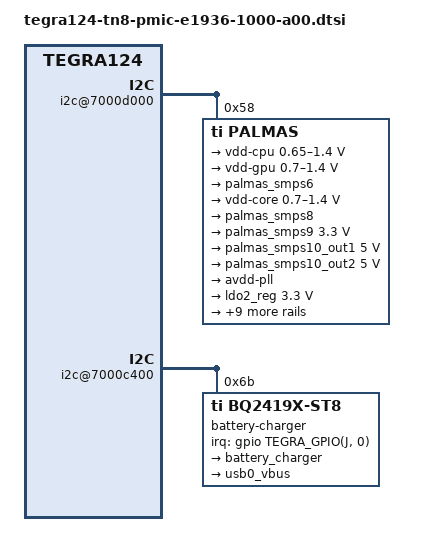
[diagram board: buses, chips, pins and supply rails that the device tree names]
/*
 * Copyright (c) 2013-2015, NVIDIA CORPORATION.  All rights reserved.
 *
 * This program is free software; you can redistribute it and/or modify it
 * under the terms and conditions of the GNU General Public License,
 * version 2, as published by the Free Software Foundation.
 *
 * This program is distributed in the hope it will be useful, but WITHOUT
 * ANY WARRANTY; without even the implied warranty of MERCHANTABILITY or
 * FITNESS FOR A PARTICULAR PURPOSE.  See the GNU General Public License for
 * more details.
 *
 * You should have received a copy of the GNU General Public License
 * along with this program.  If not, see <http://www.gnu.org/licenses/>.
 */

#include <dt-bindings/gpio/tegra-gpio.h>

/ {
	i2c@7000d000 {
		palmas: tps65913 {
			compatible = "ti,palmas";
			reg = <0x58>;
			interrupts = <0 86 0>;

			#interrupt-cells = <2>;
			interrupt-controller;

			palmas_gpio: gpio {
				compatible = "ti,palmas-gpio";
				gpio-controller;
				#gpio-cells = <2>;
			};

			rtc {
				compatible = "ti,palmas-rtc";
				interrupt-parent = <&palmas>;
				interrupts = <8 0>;
			};

			palams_thermal: thermal {
				compatible = "ti,palmas-thermal";
				#thermal-sensor-cells = <0>;
				interrupt-parent = <&palmas>;
				interrupts = <5 0>;
				ti,hot-die-threshold-temp = <120000>;
				status = "disabled";
			};

			watchdog {
				compatible = "ti,palmas-watchdog";
				ti,watchdog-init-timeout = <64>;
				status = "disabled";
			};

			pinmux {
				compatible = "ti,tps65913-pinctrl";
				pinctrl-names = "default";
				pinctrl-0 = <&palmas_default>;

				palmas_default: pinmux {
					powergood {
						pins = "powergood";
						function = "powergood";
					};

					vac {
						pins = "vac";
						function = "vac";
					};

					pin_gpio0 {
						pins = "gpio0";
						function = "id";
						bias-pull-up;
					};

					pin_gpio1 {
						pins = "gpio1";
						function = "gpio";
						bias-disable;
					};

					pin_gpio6 {
						pins = "gpio2", "gpio3", "gpio4", "gpio6", "gpio7";
						function = "gpio";
					};

					pin_gpio5 {
						pins = "gpio5";
						function = "clk32kgaudio";
					};
				};
			};

			palmas_extcon: extcon {
				compatible = "ti,palmas-usb";
				ti,wakeup;
				#extcon-cells = <1>;
				ti,enable-id-detection;
				ti,enable-vbus-detection;
			};

			power_pm {
				compatible = "ti,palmas-pm";
				system-pmic-power-off;
			};

			palmas_ldousb_in {
				compatible = "ti,palmas-ldousb-in";
				ti,ldousb-in-threshold-voltage = <3500000>;
				ti,threshold-voltage-tolerance = <100000>;
				ti,enable-in1-above-threshold;
				ldousb-in1-supply = <&vdd_ac_bat_reg>;
				ldousb-in2-supply = <&palmas_smps10_out2>;
			};

			palams_gpadc: gpadc {
				compatible = "ti,palmas-gpadc";
				interrupt-parent = <&palmas>;
				interrupts = <18 0
					      16 0
					      17 0>;
				ti,channel0-current-microamp = <5>;
				ti,channel3-current-microamp = <400>;
				ti,enable-channel3-dual-current;
				ti,enable-extended-delay;
				#io-channel-cells = <1>;
			};

                        clock {
                                compatible = "ti,palmas-clk";

                                clk32k_kg {
                                        ti,clock-boot-enable;
                                };

                                clk32k_kg_audio {
                                        ti,clock-boot-enable;
                                };
                        };

			pmic {
				compatible = "ti,tps65913-pmic", "ti,palmas-pmic";
				ldo1-in-supply = <&palmas_smps6>;
				ldo5-in-supply = <&palmas_smps8>;
				ldo9-in-supply = <&palmas_smps9>;
				ldoln-in-supply = <&palmas_smps10_out2>;
				ldousb-in-supply = <&palmas_smps10_out2>;

				regulators {
					smps123 {
						regulator-name = "vdd-cpu";
						regulator-min-microvolt = <650000>;
						regulator-max-microvolt = <1400000>;
						regulator-always-on;
						regulator-boot-on;
						ti,roof-floor = <1>;
						ti,config-flags = <8>;

						consumers {
							c1 {
								regulator-consumer-supply = "vdd_cpu";
							};
						};
					};

					smps45 {
						regulator-name = "vdd-gpu";
						regulator-min-microvolt = <700000>;
						regulator-max-microvolt = <1400000>;
						regulator-init-microvolt = <1000000>;
						regulator-boot-on;

						consumers {
							c1 {
								regulator-consumer-supply = "vdd_gpu";
							};
						};
					};

					palmas_smps6: smps6 {
						regulator-name = "vddio-ddr";
						regulator-always-on;
						regulator-boot-on;

						consumers {
							c1 {
								regulator-consumer-supply = "vddio_ddr";
							};
							c2 {
								regulator-consumer-supply = "vddio_ddr_mclk";
							};
							c3 {
								regulator-consumer-supply = "vddio_ddr3";
							};
							c4 {
								regulator-consumer-supply = "vcore1_ddr3";
							};
						};
					};

					smps7 {
						regulator-name = "vdd-core";
						regulator-min-microvolt = <700000>;
						regulator-max-microvolt = <1400000>;
						regulator-always-on;
						regulator-boot-on;
						ti,roof-floor = <3>;
						consumers {
							c1 {
								regulator-consumer-supply = "vdd_core";
							};
						};
					};

					palmas_smps8: smps8 {
						regulator-name = "vdd-1v8";
						regulator-always-on;
						regulator-boot-on;

						consumers {
							c1 {
								regulator-consumer-supply = "dbvdd";
								regulator-consumer-device = "tegra-snd-rt5639.0";
							};
							c2 {
								regulator-consumer-supply = "avdd";
								regulator-consumer-device = "tegra-snd-rt5639.0";
							};
							c3 {
								regulator-consumer-supply = "avdd_osc";
							};
							c4 {
								regulator-consumer-supply = "vddio_sys";
							};
							c5 {
								regulator-consumer-supply = "vddio_sys_2";
							};
							c6 {
								regulator-consumer-supply = "vddio_gmi";
							};
							c7 {
								regulator-consumer-supply = "vddio_sdmmc";
								regulator-consumer-device = "sdhci-tegra.0";
							};
							c8 {
								regulator-consumer-supply = "vddio_sdmmc";
								regulator-consumer-device = "sdhci-tegra.3";
							};
							c9 {
								regulator-consumer-supply = "avdd_pll_utmip";
								regulator-consumer-device = "tegra-udc.0";
							};
							c10 {
								regulator-consumer-supply = "avdd_pll_utmip";
								regulator-consumer-device = "tegra-ehci.0";
							};
							c11 {
								regulator-consumer-supply = "avdd_pll_utmip";
								regulator-consumer-device = "tegra-ehci.1";
							};
							c12 {
								regulator-consumer-supply = "avdd_pll_utmip";
								regulator-consumer-device = "tegra-ehci.2";
							};
							c14 {
								regulator-consumer-supply = "vddio_audio";
							};
							c15 {
								regulator-consumer-supply = "vddio_uart";
							};
							c16 {
								regulator-consumer-supply = "vddio_bb";
							};
							c17 {
								regulator-consumer-supply = "vdd_1v8_eeprom";
							};
							c18 {
								regulator-consumer-supply = "vlogic";
								regulator-consumer-device = "0-0069";
							};
							c19 {
								regulator-consumer-supply = "vdd";
								regulator-consumer-device = "0-0069";
							};
							c20 {
								regulator-consumer-supply = "dmicvdd";
								regulator-consumer-device = "tegra-snd-rt5639.0";
							};
							c21 {
								regulator-consumer-supply = "dmicvdd";
								regulator-consumer-device = "tegra-snd-rt5645.0";
							};
							c22 {
								regulator-consumer-supply = "vid";
								regulator-consumer-device = "0-000d";
							};
						};
					};

					palmas_smps9: smps9 {
						regulator-name = "vdd-snsr";
						regulator-min-microvolt = <3300000>;
						regulator-max-microvolt = <3300000>;
						regulator-always-on;
						regulator-boot-on;

						consumers {
							c1 {
								regulator-consumer-supply = "vddio_sd_slot";
								regulator-consumer-device = "sdhci-tegra.3";
							};
							c2 {
								regulator-consumer-supply = "vdd";
								regulator-consumer-device = "0-000d";
							};
							c3 {
								regulator-consumer-supply = "vdd";
								regulator-consumer-device = "0-004c";
							};
							c4 {
								regulator-consumer-supply = "vdd";
								regulator-consumer-device = "0-004d";
							};
						};
					};

					palmas_smps10_out1: smps10_out1 {
						regulator-name = "vdd-out1-5v0";
						regulator-min-microvolt = <5000000>;
						regulator-max-microvolt = <5000000>;

					};

					palmas_smps10_out2: smps10_out2 {
						regulator-name = "vdd-out2-5v0";
						regulator-min-microvolt = <5000000>;
						regulator-max-microvolt = <5000000>;

						consumers {
							c1 {
								regulator-consumer-supply = "spkvdd";
								regulator-consumer-device = "tegra-snd-rt5639.0";
							};
							c2 {
								regulator-consumer-supply = "spkvdd";
								regulator-consumer-device = "tegra-snd-rt5645.0";
							};
						};
					};

					ldo1 {
						regulator-name = "avdd-pll";
						regulator-always-on;
						regulator-boot-on;
						ti,roof-floor = <3>;

						consumers {
							c1 {
								regulator-consumer-supply = "avdd_pll_m";
							};
							c2 {
								regulator-consumer-supply = "avdd_pll_ap_c2_c3";
							};
							c3 {
								regulator-consumer-supply = "avdd_pll_cud2dpd";
							};
							c4 {
								regulator-consumer-supply = "avdd_pll_c4";
							};
							c5 {
								regulator-consumer-supply = "vddio_ddr_hs";
							};
							c6 {
								regulator-consumer-supply = "avdd_pll_erefe";
							};
							c7 {
								regulator-consumer-supply = "avdd_pll_cg";
							};
							c8 {
								regulator-consumer-supply = "avdd_pll_x";
							};
						};
					};

					ldo2_reg: ldo2 {
						regulator-name = "avdd-lcd";
						regulator-min-microvolt = <3300000>;
						regulator-max-microvolt = <3300000>;

						consumers {
							c1 {
								regulator-consumer-supply = "avdd_lcd";
								regulator-consumer-device = "tegradc.0";
							};

						};
					};

					ldo3_reg: ldo3 {
						regulator-name = "vdd-touch";
						regulator-min-microvolt = <3000000>;
						regulator-max-microvolt = <3000000>;
					};

					ldo4_reg: ldo4 {
						regulator-name = "avdd-cam1";
						regulator-min-microvolt = <2700000>;
						regulator-max-microvolt = <2700000>;

						consumers {
							c1 {
								regulator-consumer-supply = "avdd_ov5693";
								regulator-consumer-device = "2-0010";
							};
						};
					};

					ldo5_reg: ldo5 {
						regulator-name = "avdd-dsi-csi";

						consumers {
							c1 {
								regulator-consumer-supply = "vddio_hsic";
								regulator-consumer-device = "tegra-ehci.1";
							};
							c2 {
								regulator-consumer-supply = "vddio_hsic";
								regulator-consumer-device = "tegra-ehci.2";
							};
							c4 {
								regulator-consumer-supply = "avdd_dsi_csi";
								regulator-consumer-device = "tegradc.0";
							};
							c5 {
								regulator-consumer-supply = "avdd_dsi_csi";
								regulator-consumer-device = "tegradc.1";
							};
							c6 {
								regulator-consumer-supply = "avdd_dsi_csi";
								regulator-consumer-device = "vi.0";
							};
							c7 {
								regulator-consumer-supply = "avdd_dsi_csi";
								regulator-consumer-device = "vi.1";
							};
							c8 {
								regulator-consumer-supply = "vdd_lcd_bl";
								regulator-consumer-device = "tegradc.0";
							};
						};
					};

					vpp_fuse: ldo6 {
						regulator-name = "vpp-fuse";
						regulator-min-microvolt = <1800000>;
						regulator-max-microvolt = <1800000>;
					};

					ldo7_reg: ldo7 {
						regulator-name = "avdd-cam-af";
						regulator-min-microvolt = <2700000>;
						regulator-max-microvolt = <2700000>;

						consumers {
							c1 {
								regulator-consumer-supply = "avdd_af1_cam";
							};
							c2 {
								regulator-consumer-supply = "avdd_cam2_cam";
							};
							c3 {
								regulator-consumer-supply = "vdd_af1";
								regulator-consumer-device = "2-0010";
							};
							c4 {
								regulator-consumer-supply = "vdd";
								regulator-consumer-device = "2-000c";
							};
							c5 {
								regulator-consumer-supply = "vana";
								regulator-consumer-device = "2-0048";
							};
							c6 {
								regulator-consumer-supply = "vana";
								regulator-consumer-device = "2-0036";
							};
							c7 {
								regulator-consumer-supply = "vin";
								regulator-consumer-device = "2-0030";
							};
							c8 {
								regulator-consumer-supply = "vana";
								regulator-consumer-device = "2-0010";
							};
						};
					};

					ldo8 {
						regulator-name = "vdd-rtc";
						regulator-min-microvolt = <950000>;
						regulator-max-microvolt = <950000>;
						regulator-always-on;
						regulator-boot-on;

						consumers {
							c1 {
								regulator-consumer-supply = "vdd_rtc";
							};
						};
					};

					palmas_ldo9: ldo9 {
						regulator-name = "vddio-sdmmc-2";
						regulator-min-microvolt = <1800000>;
						regulator-max-microvolt = <3300000>;

						consumers {
							c1 {
								regulator-consumer-supply = "vddio_sdmmc";
								regulator-consumer-device = "sdhci-tegra.2";
							};
						};
					};

					ldoln_reg: ldoln {
						regulator-name = "vddio-hv";
						regulator-always-on;
						regulator-boot-on;

						consumers {
							c1 {
								regulator-consumer-supply = "vddio_hv";
								regulator-consumer-device = "tegradc.1";
							};
							c2 {
								regulator-consumer-supply = "avdd_hdmi";
								regulator-consumer-device = "tegradc.1";

							};
						};
					};

					ldousb_reg: ldousb {
						regulator-name = "avdd-usb";
						regulator-always-on;
						regulator-boot-on;

						consumers {
							c2 {
								regulator-consumer-supply = "avdd_usb";
								regulator-consumer-device = "tegra-udc.0";
							};
							c3 {
								regulator-consumer-supply = "avdd_usb";
								regulator-consumer-device = "tegra-ehci.0";
							};
							c4 {
								regulator-consumer-supply = "avdd_usb";
								regulator-consumer-device = "tegra-ehci.1";
							};
							c5 {
								regulator-consumer-supply = "avdd_usb";
								regulator-consumer-device = "tegra-ehci.2";
							};
						};
					};
				};
			};
		};
	};

	i2c@7000c400 {

		fg_max17048: battery-gauge@36 {
			compatible = "maxim,max17048";
			reg = <0x36>;
			status = "disabled";
			interrupt-parent = <&gpio>;
			interrupts = <TEGRA_GPIO(Q, 5) 0x0>;
			tz-name = "Battery";
			alert-threshold = <0>;          /* 1% SOC */
			one-percent-alerts = <1>;
			valert-max = <5100>;            /* not use */
			valert-min = <0>;            /* not use */
			vreset-threshold = <2400>;
			vreset-disable = <1>;           /* not use */
			hib-threshold = <48>;           /* 9.984%/hr */
			hib-active-threshold = <128>;   /* 160mV */
			bits = <18>;
			rcomp = <57>;
			rcomp-seg = <0x0200>;
			soccheck-a = <119>;
			soccheck-b = <121>;
			ocvtest = <55952>;
			data-tbl = <0x98 0x80 0xB3 0x50 0xB7 0x90 0xB9 0x00
				0xBA 0x70 0xBC 0x10 0xBC 0x50 0xBC 0xA0
				0xBD 0x20 0xBE 0x30 0xBF 0x40 0xC2 0xF0
				0xC4 0x20 0xC7 0xE0 0xCB 0xF0 0xD0 0x90
				0x00 0x40 0x06 0x70 0x0E 0x50 0x12 0x00
				0x18 0xD0 0x33 0x10 0x31 0x40 0x35 0xD0
				0x18 0xD0 0x19 0x00 0x0B 0xF0 0x0C 0x10
				0x0D 0x10 0x07 0x90 0x08 0x00 0x08 0x00>;
		};

		fg_lc709203f: battery-gauge@0b {
			compatible = "onsemi,lc709203f";
			reg = <0x0b>;
			#thermal-sensor-cells = <0>;
			interrupt-parent = <&gpio>;
			interrupts = <TEGRA_GPIO(Q, 5) 0x0>;
			onsemi,thermistor-beta = <0x0d6b>;
			onsemi,alert-low-rsoc = <0x0>;
			onsemi,alert-low-voltage = <0x0>;
			onsemi,kernel-maximum-soc = <88>;
			status = "disabled";
		};

		battery-charger@6b {
			compatible = "ti,bq2419x-st8";
			reg = <0x6b>;

			interrupt-parent = <&gpio>;
			interrupts = <TEGRA_GPIO(J, 0) 0x0>;

			battery_charger: charger {
				status = "disabled";
				regulator-name = "batt_regulator";
				regulator-max-microamp = <3000000>;
				ti,watchdog-timeout = <40>;
				ti,rtc-alarm-time = <3600>;
				ti,auto-recharge-time = <1800>;
				ti,disbale-suspend-during-charging;
				ti,charge-voltage-limit-millivolt = <4200>;
				ti,charge-term-current-limit-milliamp = <260>;
				ti,temp-range = <10 15 60>;
				ti,charge-current-limit = <1024 2048 5200>;
				ti,thermal-zone = "Battery";
				ti,temp-polling-time-sec = <5>;
				ti,ir-comp-voltage-millivolt = <1>;
				ti,ir-comp-resister-ohm = <70>;
				consumers {
					c1 {
						regulator-consumer-supply = "usb_bat_chg";
						regulator-consumer-device = "tegra-udc.0";
					};
					c2 {
						regulator-consumer-supply = "usb_bat_chg";
						regulator-consumer-device = "tegra-otg";
					};
				};
			};

			usb0_vbus: vbus {
				regulator-name = "vbus_regulator";
				ti,otg-iusb-gpio = <&gpio TEGRA_GPIO(I, 4) 0>;
				consumers {
					c1 {
						regulator-consumer-supply = "usb_vbus";
						regulator-consumer-device = "tegra-ehci.0";
					};

					c2 {
						regulator-consumer-supply = "usb_vbus";
						regulator-consumer-device = "tegra-otg";
					};
				};
			};
		};
	};

	extcon {
		extcon_cable_xlate: extcon@0 {
			compatible = "extcon-cable-xlate";
			reg = <0x0>;
			extcon-name = "cable-xlate";
			output-cable-names = "USB", "USB-Host", "ACA-A", "Y-Cable", "ACA-B", "ACA-C", "ACA-NV";
					extcon-cables = <&palmas_extcon 0 &palmas_extcon 1 &palmas_extcon 2 &palmas_extcon 3 &palmas_extcon 4>;
			extcon-cable-names = "vbus", "id", "aca-ra", "aca-rb", "aca-rc";
			cable-new-states = <0x0     0x0     0x3F    0x0 0x0
					0x0     0x1     0x3F    0x1   0x0
					0x2     0x1     0x3F    0x0   0x0
					0x0     0x2     0x3F    0x2   0x0
					0x0     0x3     0x3F    0x8   0x0
					0x2     0x3     0x3F    0x2   0x0
					0x3     0x1     0x3F    0x0   0x0
					0x3     0x2     0x3F    0x2   0x0
					0x0     0x5     0x3F    0x4   0x0
					0x1     0x5     0x3F    0x4   0x0
					0x0     0x4     0x3F    0x4   0x0
					0x0     0x11    0x3F    0x20  0x0
					0x1     0x11    0x3F    0x20  0x0
					0x0     0x10    0x3F    0x20  0x0
					0x1     0x10    0x3F    0x20  0x0
					0x11     0x1    0x3F    0x1  0x0
					0x0     0x8     0x3F    0x10  0x0>;
			#extcon-cells = <1>;
			status = "okay";
		};
	};
};
